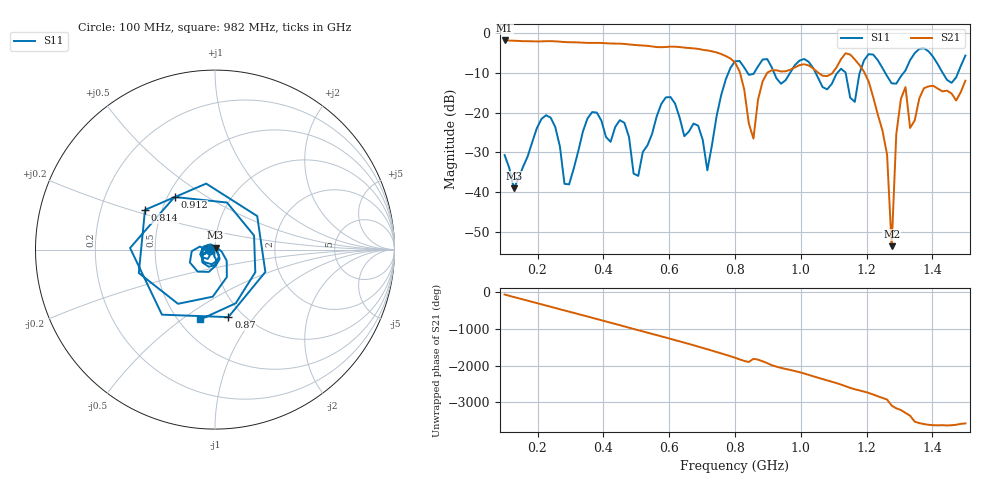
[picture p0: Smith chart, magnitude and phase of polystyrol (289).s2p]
! NanoVNA-App
! Date: 2025-09-25 15:32:08
! Start: 100MHz Stop: 1,5GHz Points: 101
! S-Parameter data: F S11 S21 S12 S22
# Hz S RI R 50
!  Frequency  S11_Real  S11_Imag  S21_Real  S21_Imag  S12_Real  S12_Imag  S22_Real  S22_Imag
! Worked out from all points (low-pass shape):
!   101 points, 100 MHz to 1.5 GHz, reference 50 ohm
!   highest |S21| = -1.80 dB at 100 MHz (marker M1); lowest = -53.7 dB at 1.276 GHz (marker M2)
!   |S21| within 3 dB of the highest: start of sweep to 742.9 MHz
!   lowest |S11| = -39.1 dB at 128 MHz (marker M3), VSWR 1.02, Z = 50.3 + j1.07 ohm
!   |S11| at or under -10 dB: start of sweep to 779.9 MHz; 1.045 GHz to 1.111 GHz (65.69 MHz wide, 6.09 % of centre); 1.257 GHz to 1.312 GHz (55.25 MHz wide, 4.3 % of centre) (the widest 3 of 7)
!   S12 and S22 are empty: the file has one direction only
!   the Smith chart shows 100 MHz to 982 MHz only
!   S11 on the Smith chart (normalised r, x): 100 MHz: 0.94, -0.01; 814 MHz: 0.40, +0.22; 870 MHz: 0.85, -0.75; 912 MHz: 0.54, +0.37; 982 MHz: 0.64, -0.59
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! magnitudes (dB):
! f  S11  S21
! 100 MHz  -30.7  -1.8
! 128 MHz  -39.1  -1.9
! 212 MHz  -21.6  -2.0
! 282 MHz  -37.9  -2.2
! 338 MHz  -24.7  -2.4
! 506 MHz  -35.9  -3.0
! 576 MHz  -17.8  -3.5
! 716 MHz  -34.5  -4.3
! 800 MHz  -7.1  -7.4
! 814 MHz  -7.0  -9.6
! 856 MHz  -10.3  -26.5
! 870 MHz  -8.3  -16.7
! 912 MHz  -8.6  -9.3
! 982 MHz  -8.0  -8.6
! 1.038 GHz  -8.8  -8.9
! 1.164 GHz  -17.3  -6.6
! 1.206 GHz  -5.2  -12.1
! 1.262 GHz  -10.8  -30.5
! 1.276 GHz  -12.6  -53.7
! 1.29 GHz  -12.7  -25.5
! 1.318 GHz  -9.4  -13.5
! 1.5 GHz  -5.6  -12.0
